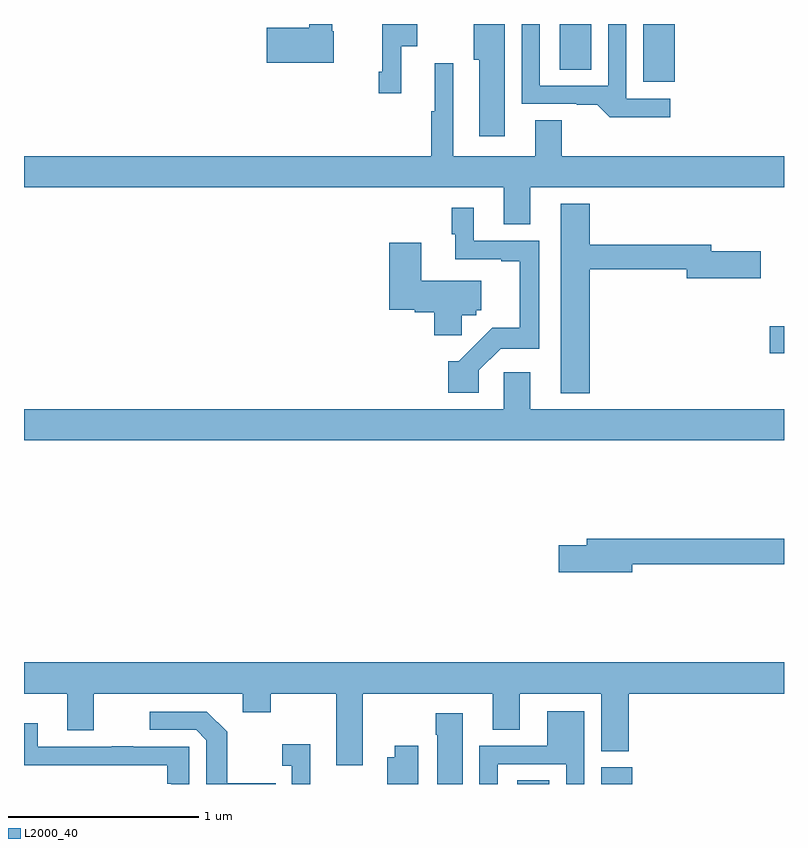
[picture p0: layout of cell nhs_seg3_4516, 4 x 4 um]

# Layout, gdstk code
import gdstk
lib = gdstk.Library(unit=1e-6, precision=1e-09)
def R(c, l, rs):  # rectangles x0, y0, x1, y1
    for r in rs: c.add(gdstk.rectangle(r[:2], r[2:], *l))
def P(c, l, *ps):  # polygons
    for p in ps: c.add(gdstk.Polygon(p, *l))
L2000_40 = (2000, 40)

nhs_seg3_4516 = lib.new_cell('nhs_seg3_4516')
R(nhs_seg3_4516, L2000_40, [(353.597,740.4,353.764,740.42), (354.038,740.4,354.2,740.487), (354.924,742.666,355,742.808), (354.26,744.095,354.424,744.4), (353.819,744.16,353.986,744.4)])
P(nhs_seg3_4516, L2000_40, [(352.985,744.284),(353.071,744.284),(353.071,744.4),(352.885,744.4),(352.885,744.148),(352.867,744.148),(352.867,744.036),(352.985,744.036)],
  [(353.53,744.4),(353.368,744.4),(353.368,744.213),(353.396,744.213),(353.396,743.808),(353.53,743.808)],
  [(352.63,744.363),(352.622,744.363),(352.622,744.4),(352.501,744.4),(352.501,744.38),(352.278,744.38),(352.278,744.197),(352.63,744.197)],
  [(354.4,744.006),(354.171,744.006),(354.171,744.4),(354.075,744.4),(354.075,744.075),(353.715,744.075),(353.715,744.4),(353.619,744.4),(353.619,743.979),(353.909,743.979),(353.909,743.974),(354.017,743.974),(354.083,743.909),(354.4,743.909)],
  [(353.26,744.193),(353.162,744.193),(353.162,743.94),(353.143,743.94),(353.143,743.704),(351,743.704),(351,743.54),(353.525,743.54),(353.525,743.346),(353.665,743.346),(353.665,743.54),(355,743.54),(355,743.704),(353.83,743.704),(353.83,743.894),(353.69,743.894),(353.69,743.704),(353.26,743.704)],
  [(353.978,743.11),(354.488,743.11),(354.488,743.063),(354.877,743.063),(354.877,743.205),(354.616,743.205),(354.616,743.239),(353.978,743.239),(353.978,743.455),(353.825,743.455),(353.825,742.457),(353.978,742.457)],
  [(353.394,742.578),(353.508,742.692),(353.713,742.692),(353.713,743.259),(353.368,743.259),(353.368,743.434),(353.251,743.434),(353.251,743.294),(353.27,743.294),(353.27,743.163),(353.513,743.163),(353.513,743.151),(353.609,743.151),(353.609,742.802),(353.465,742.802),(353.287,742.624),(353.234,742.624),(353.234,742.458),(353.394,742.458)],
  [(353.303,742.866),(353.379,742.866),(353.379,742.893),(353.407,742.893),(353.407,743.05),(353.092,743.05),(353.092,743.248),(352.922,743.248),(352.922,742.895),(353.057,742.895),(353.057,742.883),(353.159,742.883),(353.159,742.761),(353.303,742.761)],
  [(355,742.372),(353.665,742.372),(353.665,742.567),(353.526,742.567),(353.526,742.372),(351,742.372),(351,742.208),(355,742.208)],
  [(354.202,741.556),(355,741.556),(355,741.692),(353.963,741.692),(353.963,741.656),(353.814,741.656),(353.814,741.514),(354.202,741.514)],
  [(352.783,740.876),(353.468,740.876),(353.468,740.686),(353.608,740.686),(353.608,740.876),(354.038,740.876),(354.038,740.572),(354.182,740.572),(354.182,740.876),(355,740.876),(355,741.04),(351,741.04),(351,740.876),(351.227,740.876),(351.227,740.682),(351.367,740.682),(351.367,740.876),(352.151,740.876),(352.151,740.777),(352.299,740.777),(352.299,740.876),(352.643,740.876),(352.643,740.499),(352.783,740.499)],
  [(353.493,740.505),(353.853,740.505),(353.853,740.4),(353.949,740.4),(353.949,740.782),(353.753,740.782),(353.753,740.601),(353.397,740.601),(353.397,740.4),(353.493,740.4)],
  [(352.325,740.403),(352.069,740.403),(352.069,740.675),(351.963,740.781),(351.663,740.781),(351.663,740.685),(351.906,740.685),(351.96,740.631),(351.96,740.4),(352.325,740.4)],
  [(353.308,740.773),(353.167,740.773),(353.167,740.66),(353.174,740.66),(353.174,740.4),(353.308,740.4)],
  [(351.87,740.595),(351.575,740.595),(351.575,740.6),(351.463,740.6),(351.463,740.595),(351.073,740.595),(351.073,740.719),(351,740.719),(351,740.5),(351.079,740.5),(351.079,740.499),(351.754,740.499),(351.754,740.402),(351.774,740.402),(351.774,740.4),(351.87,740.4)],
  [(352.507,740.608),(352.359,740.608),(352.359,740.495),(352.41,740.495),(352.41,740.4),(352.507,740.4)],
  [(353.074,740.602),(352.952,740.602),(352.952,740.542),(352.912,740.542),(352.912,740.4),(353.074,740.4)])

lib.write_gds('nhs_seg3_4516.gds')
